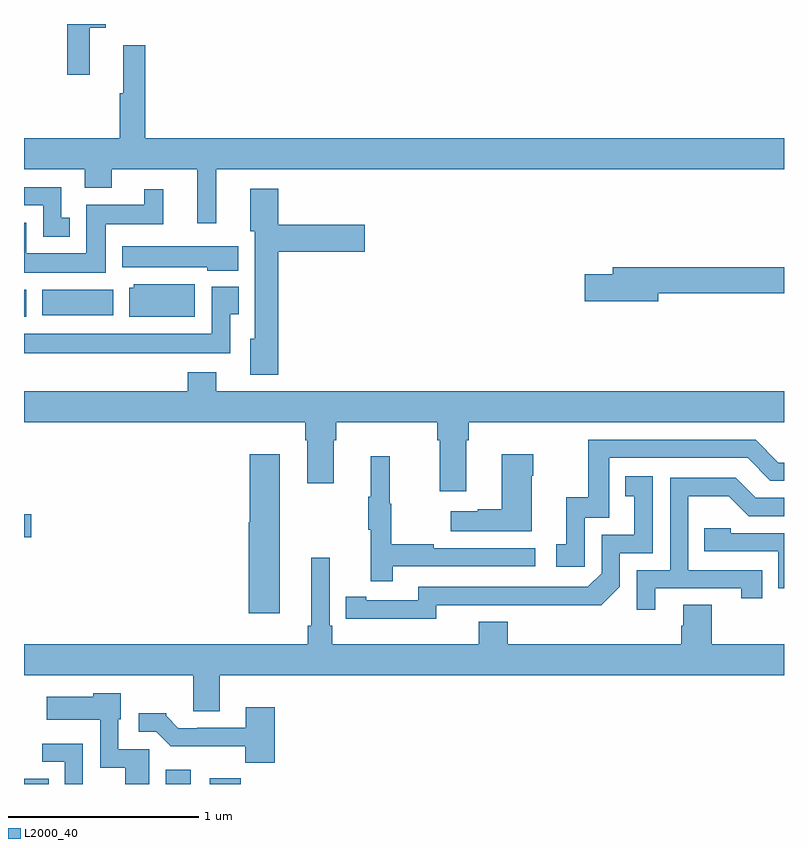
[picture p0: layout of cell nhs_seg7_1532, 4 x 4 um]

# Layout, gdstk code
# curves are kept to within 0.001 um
import gdstk
lib = gdstk.Library(unit=1e-6, precision=1e-09)
def R(c, l, rs):  # rectangles x0, y0, x1, y1
    for r in rs: c.add(gdstk.rectangle(r[:2], r[2:], *l))
def P(c, l, *ps):  # polygons
    for p in ps: c.add(gdstk.Polygon(p, *l))
L2000_40 = (2000, 40)

nhs_seg7_1532 = lib.new_cell('nhs_seg7_1532')
R(nhs_seg7_1532, L2000_40, [(215,1044,215.129,1044.028), (215.747,1044,215.878,1044.076), (215.978,1044,216.14,1044.031), (215,1045.298,215.038,1045.42), (215,1046.459,215.011,1046.602), (215.096,1046.468,215.47,1046.602)])
P(nhs_seg7_1532, L2000_40, [(215.345,1047.98),(215.431,1047.98),(215.431,1048),(215.227,1048),(215.227,1047.732),(215.345,1047.732)],
  [(216.011,1047.236),(219,1047.236),(219,1047.4),(215.639,1047.4),(215.639,1047.889),(215.522,1047.889),(215.522,1047.636),(215.503,1047.636),(215.503,1047.4),(215,1047.4),(215,1047.236),(215.321,1047.236),(215.321,1047.137),(215.461,1047.137),(215.461,1047.236),(215.912,1047.236),(215.912,1046.952),(216.011,1046.952)],
  [(215.242,1046.979),(215.196,1046.979),(215.196,1047.141),(215,1047.141),(215,1047.045),(215.1,1047.045),(215.1,1046.879),(215.242,1046.879)],
  [(216.338,1046.801),(216.793,1046.801),(216.793,1046.943),(216.338,1046.943),(216.338,1047.133),(216.191,1047.133),(216.191,1046.91),(216.215,1046.91),(216.215,1046.343),(216.191,1046.343),(216.191,1046.153),(216.338,1046.153)],
  [(215.431,1046.945),(215.732,1046.945),(215.732,1047.13),(215.633,1047.13),(215.633,1047.049),(215.327,1047.049),(215.327,1046.794),(215.011,1046.794),(215.011,1046.955),(215,1046.955),(215,1046.69),(215.431,1046.69)],
  [(216.127,1046.83),(215.516,1046.83),(215.516,1046.72),(215.964,1046.72),(215.964,1046.702),(216.127,1046.702)],
  [(218.338,1046.584),(219,1046.584),(219,1046.72),(218.099,1046.72),(218.099,1046.684),(217.95,1046.684),(217.95,1046.542),(218.338,1046.542)],
  [(215.899,1046.629),(215.577,1046.629),(215.577,1046.613),(215.555,1046.613),(215.555,1046.459),(215.899,1046.459)],
  [(216.085,1046.473),(216.13,1046.473),(216.13,1046.617),(215.988,1046.617),(215.988,1046.371),(215,1046.371),(215,1046.267),(216.085,1046.267)],
  [(216.479,1045.808),(216.491,1045.808),(216.491,1045.584),(216.631,1045.584),(216.631,1045.808),(216.644,1045.808),(216.644,1045.904),(217.175,1045.904),(217.175,1045.808),(217.187,1045.808),(217.187,1045.542),(217.327,1045.542),(217.327,1045.808),(217.34,1045.808),(217.34,1045.904),(219,1045.904),(219,1046.068),(216.013,1046.068),(216.013,1046.167),(215.861,1046.167),(215.861,1046.068),(215,1046.068),(215,1045.904),(216.479,1045.904)],
  [(217.95,1045.401),(218.079,1045.401),(218.079,1045.716),(218.808,1045.716),(218.928,1045.596),(219,1045.596),(219,1045.692),(218.97,1045.692),(218.85,1045.812),(217.971,1045.812),(217.971,1045.51),(217.853,1045.51),(217.853,1045.263),(217.8,1045.263),(217.8,1045.143),(217.95,1045.143)],
  [(216.346,1045.735),(216.188,1045.735),(216.188,1045.377),(216.182,1045.377),(216.182,1044.9),(216.346,1044.9)],
  [(217.672,1045.622),(217.68,1045.622),(217.68,1045.735),(217.514,1045.735),(217.514,1045.445),(217.388,1045.445),(217.388,1045.435),(217.245,1045.435),(217.245,1045.331),(217.672,1045.331)],
  [(216.941,1045.146),(217.69,1045.146),(217.69,1045.242),(217.157,1045.242),(217.157,1045.262),(216.934,1045.262),(216.934,1045.476),(216.926,1045.476),(216.926,1045.726),(216.824,1045.726),(216.824,1045.513),(216.813,1045.513),(216.813,1045.339),(216.824,1045.339),(216.824,1045.068),(216.941,1045.068)],
  [(217.17,1044.942),(218.038,1044.941),(218.136,1045.038),(218.136,1045.215),(218.31,1045.215),(218.31,1045.621),(218.164,1045.621),(218.164,1045.515),(218.213,1045.515),(218.213,1045.311),(218.04,1045.311),(218.04,1045.11),(217.968,1045.038),(217.074,1045.038),(217.074,1044.966),(216.802,1044.966),(216.802,1044.986),(216.694,1044.986),(216.694,1044.87),(217.17,1044.869)],
  [(218.323,1045.029),(218.774,1045.029),(218.774,1044.978),(218.885,1044.978),(218.885,1045.125),(218.496,1045.125),(218.496,1045.514),(218.71,1045.514),(218.814,1045.41),(219,1045.41),(219,1045.506),(218.851,1045.506),(218.746,1045.611),(218.4,1045.611),(218.4,1045.125),(218.226,1045.125),(218.226,1044.918),(218.323,1044.918)],
  [(219,1045.32),(218.721,1045.32),(218.721,1045.347),(218.581,1045.347),(218.581,1045.224),(218.97,1045.224),(218.97,1045.029),(219,1045.029)],
  [(216.031,1044.572),(219,1044.572),(219,1044.736),(218.619,1044.736),(218.619,1044.944),(218.471,1044.944),(218.471,1044.834),(218.459,1044.834),(218.459,1044.736),(217.547,1044.736),(217.547,1044.853),(217.394,1044.853),(217.394,1044.736),(216.623,1044.736),(216.623,1044.832),(216.609,1044.832),(216.609,1045.192),(216.512,1045.192),(216.512,1044.832),(216.493,1044.832),(216.493,1044.736),(215,1044.736),(215,1044.572),(215.891,1044.572),(215.891,1044.382),(216.031,1044.382)],
  [(215.659,1044.183),(215.496,1044.183),(215.496,1044.342),(215.509,1044.342),(215.509,1044.478),(215.364,1044.478),(215.364,1044.46),(215.121,1044.46),(215.121,1044.338),(215.4,1044.338),(215.4,1044.086),(215.534,1044.086),(215.534,1044),(215.659,1044)],
  [(216.32,1044.403),(216.167,1044.403),(216.167,1044.297),(215.911,1044.297),(215.911,1044.294),(215.812,1044.294),(215.748,1044.358),(215.748,1044.373),(215.604,1044.373),(215.604,1044.276),(215.697,1044.276),(215.773,1044.2),(216.165,1044.2),(216.165,1044.113),(216.32,1044.113)],
  [(215.31,1044.213),(215.097,1044.213),(215.097,1044.117),(215.214,1044.117),(215.214,1044),(215.31,1044)])

lib.write_gds('nhs_seg7_1532.gds')
